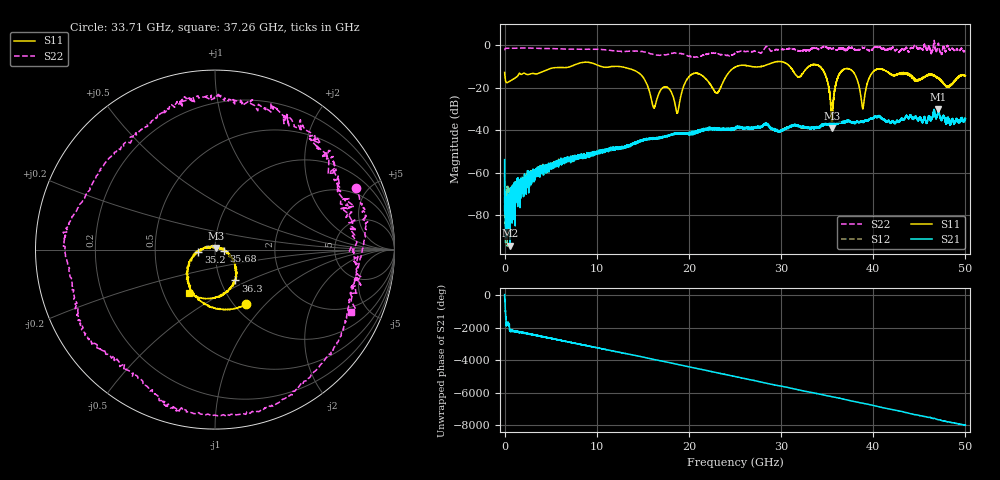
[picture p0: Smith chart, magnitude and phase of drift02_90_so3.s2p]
!Created with skrf (http://scikit-rf.org).
# Hz S RI R 50.0
!freq ReS11 ImS11 ReS21 ImS21 ReS12 ImS12 ReS22 ImS22
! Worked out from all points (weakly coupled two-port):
!   10001 points, 300 kHz to 50 GHz, reference 50 ohm
!   highest |S21| = -30.18 dB at 47.08 GHz (marker M1); lowest = -94.2 dB at 605.3 MHz (marker M2)
!   lowest |S11| = -39.1 dB at 35.54 GHz (marker M3), VSWR 1.02, Z = 50.7 + j0.898 ohm
!   |S11| at or under -10 dB: start of sweep to 7.178 GHz; 12.37 GHz to 25.18 GHz (12.81 GHz wide, 68.2 % of centre); 34.22 GHz to end of sweep (the widest 3 of 15)
!   |S22| runs from -5.7 to 2.2 dB; largest |S21 - S12| = 0.0036
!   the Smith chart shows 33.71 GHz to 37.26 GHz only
!   S11 on the Smith chart (normalised r, x): 33.71 GHz: 1.13, -0.78; 35.2 GHz: 0.83, -0.02; 35.68 GHz: 1.10, -0.01; 36.3 GHz: 1.17, -0.42; 37.26 GHz: 0.67, -0.35
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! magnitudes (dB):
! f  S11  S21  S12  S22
! 300 kHz  -12.8  -53.8  -60.0  -2.0
! 255.3 MHz  -17.6  -77.5  -73.0  -1.4
! 605.3 MHz  -16.8  -94.2  -73.3  -1.5
! 8.335 GHz  -8.2  -52.0  -52.2  -1.9
! 14.03 GHz  -11.8  -46.4  -46.4  -2.8
! 16.67 GHz  -23.4  -43.9  -43.6  -4.7
! 18.74 GHz  -32.0  -41.5  -41.6  -3.7
! 20.24 GHz  -13.9  -41.8  -40.9  -5.4
! 23.04 GHz  -22.5  -39.0  -39.5  -4.1
! 25 GHz  -10.3  -39.0  -39.3  -3.9
! 33.34 GHz  -9.3  -38.8  -38.8  -1.6
! 33.71 GHz  -9.1  -38.7  -38.6  -1.4
! 35.2 GHz  -20.6  -37.0  -37.1  -1.6
! 35.54 GHz  -39.1  -36.8  -37.0  -1.8
! 35.68 GHz  -26.3  -36.7  -36.6  -1.4
! 36.3 GHz  -13.7  -36.3  -36.7  -1.6
! 37.26 GHz  -11.0  -35.7  -35.5  -1.6
! 38.87 GHz  -29.8  -35.9  -36.0  -1.4
! 39.96 GHz  -12.6  -34.4  -34.5  -1.9
! 41.67 GHz  -13.0  -35.5  -35.6  -2.0
! 47.08 GHz  -15.5  -30.2  -30.3  0.9
! 50 GHz  -14.4  -34.5  -34.6  -2.7
